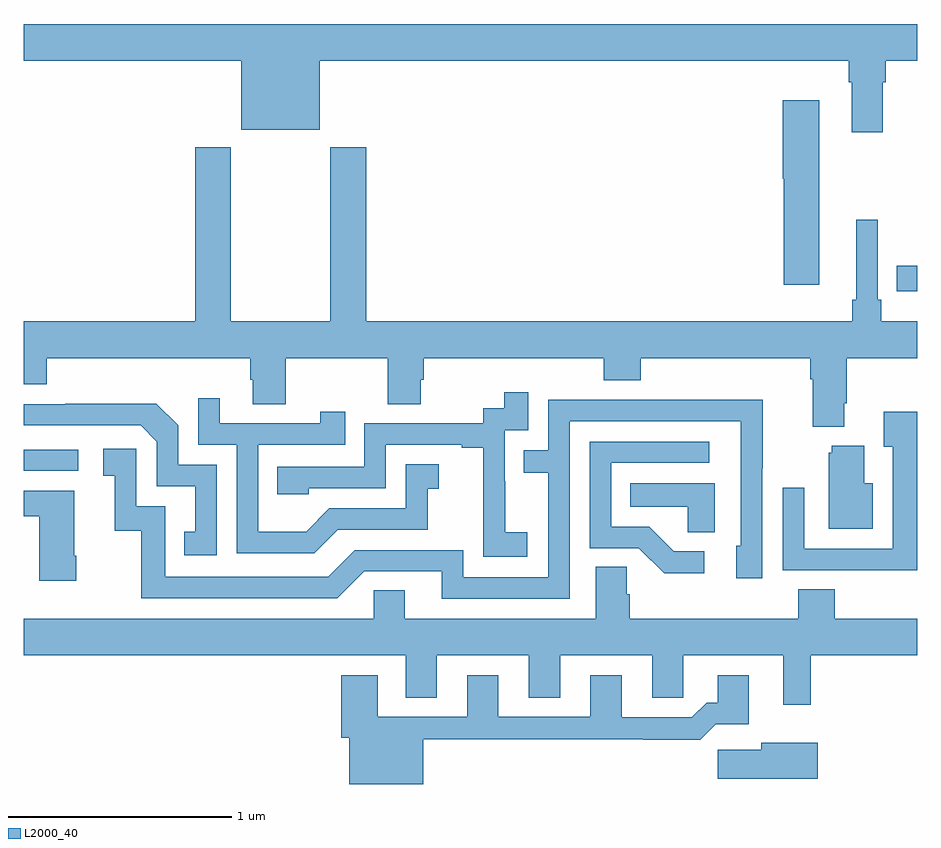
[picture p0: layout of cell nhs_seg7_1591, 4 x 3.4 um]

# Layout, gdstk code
import gdstk
lib = gdstk.Library(unit=1e-6, precision=1e-09)
def R(c, l, rs):  # rectangles x0, y0, x1, y1
    for r in rs: c.add(gdstk.rectangle(r[:2], r[2:], *l))
def P(c, l, *ps):  # polygons
    for p in ps: c.add(gdstk.Polygon(p, *l))
L2000_40 = (2000, 40)

nhs_seg7_1591 = lib.new_cell('nhs_seg7_1591')
R(nhs_seg7_1591, L2000_40, [(219,1041.402,219.244,1041.498), (222.91,1042.206,223,1042.322)])
P(nhs_seg7_1591, L2000_40, [(222.847,1043.144),(222.86,1043.144),(222.86,1043.24),(223,1043.24),(223,1043.404),(219,1043.404),(219,1043.24),(219.974,1043.24),(219.974,1042.931),(220.324,1042.931),(220.324,1043.24),(222.695,1043.24),(222.695,1043.144),(222.707,1043.144),(222.707,1042.92),(222.847,1042.92)],
  [(222.562,1043.062),(222.398,1043.062),(222.398,1042.71),(222.404,1042.71),(222.404,1042.236),(222.562,1042.236)],
  [(222.673,1041.706),(222.686,1041.706),(222.686,1041.908),(223,1041.908),(223,1042.072),(222.839,1042.072),(222.839,1042.168),(222.825,1042.168),(222.825,1042.528),(222.728,1042.528),(222.728,1042.168),(222.709,1042.168),(222.709,1042.072),(220.532,1042.072),(220.532,1042.852),(220.372,1042.852),(220.372,1042.072),(219.927,1042.072),(219.927,1042.852),(219.767,1042.852),(219.767,1042.072),(219,1042.072),(219,1041.791),(219.101,1041.791),(219.101,1041.908),(220.013,1041.908),(220.013,1041.81),(220.025,1041.81),(220.025,1041.7),(220.173,1041.7),(220.173,1041.908),(220.63,1041.908),(220.63,1041.7),(220.777,1041.7),(220.777,1041.81),(220.79,1041.81),(220.79,1041.908),(221.597,1041.908),(221.597,1041.809),(221.762,1041.809),(221.762,1041.908),(222.521,1041.908),(222.521,1041.812),(222.533,1041.812),(222.533,1041.599),(222.673,1041.599)],
  [(221.254,1041.127),(221.156,1041.127),(221.156,1041.356),(221.154,1041.356),(221.154,1041.585),(221.259,1041.585),(221.259,1041.754),(221.151,1041.754),(221.151,1041.684),(221.058,1041.684),(221.058,1041.615),(220.524,1041.615),(220.524,1041.42),(220.135,1041.42),(220.135,1041.297),(220.275,1041.297),(220.275,1041.324),(220.62,1041.324),(220.62,1041.519),(220.961,1041.519),(220.961,1041.507),(221.057,1041.507),(221.057,1041.223),(221.056,1041.223),(221.056,1041.017),(221.254,1041.017)],
  [(220.405,1041.138),(220.809,1041.138),(220.809,1041.323),(220.858,1041.323),(220.858,1041.433),(220.71,1041.433),(220.71,1041.234),(220.368,1041.234),(220.264,1041.13),(220.05,1041.13),(220.05,1041.519),(220.439,1041.519),(220.439,1041.667),(220.328,1041.667),(220.328,1041.615),(219.877,1041.615),(219.877,1041.727),(219.78,1041.727),(219.78,1041.519),(219.954,1041.519),(219.954,1041.033),(220.3,1041.033)],
  [(221.445,1041.624),(222.21,1041.624),(222.21,1041.066),(222.191,1041.066),(222.191,1040.922),(222.306,1040.922),(222.306,1041.415),(222.309,1041.415),(222.309,1041.722),(221.845,1041.722),(221.845,1041.72),(221.349,1041.72),(221.349,1041.495),(221.239,1041.495),(221.239,1041.394),(221.349,1041.394),(221.349,1040.925),(220.968,1040.925),(220.968,1041.048),(220.482,1041.048),(220.362,1040.928),(219.633,1040.928),(219.633,1041.243),(219.504,1041.243),(219.504,1041.502),(219.354,1041.502),(219.354,1041.381),(219.407,1041.381),(219.407,1041.135),(219.525,1041.135),(219.525,1040.832),(220.404,1040.832),(220.524,1040.952),(220.871,1040.952),(220.871,1040.829),(221.445,1040.829)],
  [(219.864,1041.429),(219.69,1041.429),(219.69,1041.606),(219.592,1041.704),(219.184,1041.704),(219.184,1041.702),(219,1041.702),(219,1041.606),(219.522,1041.606),(219.594,1041.534),(219.594,1041.333),(219.767,1041.333),(219.767,1041.129),(219.718,1041.129),(219.718,1041.024),(219.864,1041.024)],
  [(223,1041.667),(222.851,1041.667),(222.851,1041.511),(222.891,1041.511),(222.891,1041.054),(222.495,1041.054),(222.495,1041.328),(222.399,1041.328),(222.399,1040.958),(222.715,1040.958),(222.715,1040.957),(223,1040.957)],
  [(222.046,1041.042),(221.911,1041.042),(221.8,1041.153),(221.631,1041.153),(221.631,1041.438),(222.07,1041.438),(222.07,1041.534),(221.535,1041.534),(221.535,1041.057),(221.754,1041.057),(221.867,1040.945),(222.046,1040.945)],
  [(222.802,1041.346),(222.763,1041.346),(222.763,1041.514),(222.617,1041.514),(222.617,1041.483),(222.605,1041.483),(222.605,1041.143),(222.802,1041.143)],
  [(222.094,1041.346),(221.716,1041.346),(221.716,1041.242),(221.973,1041.242),(221.973,1041.127),(222.094,1041.127)],
  [(219.234,1041.022),(219.226,1041.022),(219.226,1041.313),(219,1041.313),(219,1041.199),(219.068,1041.199),(219.068,1040.91),(219.234,1040.91)],
  [(222.523,1040.576),(223,1040.576),(223,1040.74),(222.632,1040.74),(222.632,1040.873),(222.467,1040.873),(222.467,1040.74),(221.714,1040.74),(221.714,1040.849),(221.7,1040.849),(221.7,1040.972),(221.561,1040.972),(221.561,1040.74),(220.705,1040.74),(220.705,1040.867),(220.566,1040.867),(220.566,1040.74),(219,1040.74),(219,1040.576),(220.709,1040.576),(220.709,1040.386),(220.849,1040.386),(220.849,1040.576),(221.261,1040.576),(221.261,1040.386),(221.401,1040.386),(221.401,1040.576),(221.813,1040.576),(221.813,1040.386),(221.952,1040.386),(221.952,1040.576),(222.401,1040.576),(222.401,1040.355),(222.523,1040.355)],
  [(220.789,1040.2),(221.773,1040.2),(221.773,1040.198),(222.029,1040.198),(222.098,1040.267),(222.247,1040.267),(222.247,1040.488),(222.107,1040.488),(222.107,1040.365),(222.058,1040.365),(221.991,1040.298),(221.677,1040.298),(221.677,1040.488),(221.537,1040.488),(221.537,1040.301),(221.125,1040.301),(221.125,1040.488),(220.985,1040.488),(220.985,1040.301),(220.585,1040.301),(220.585,1040.488),(220.421,1040.488),(220.421,1040.208),(220.457,1040.208),(220.457,1040),(220.789,1040)],
  [(222.556,1040.185),(222.302,1040.185),(222.302,1040.153),(222.108,1040.153),(222.108,1040.024),(222.556,1040.024)])

lib.write_gds('nhs_seg7_1591.gds')
